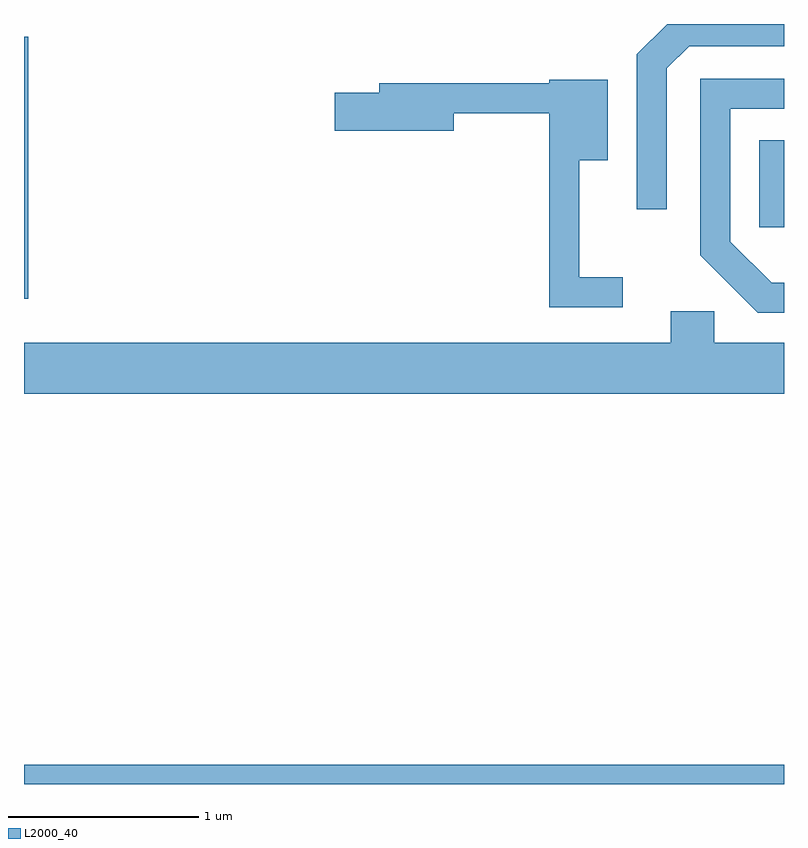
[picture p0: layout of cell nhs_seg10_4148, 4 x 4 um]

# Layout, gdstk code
import gdstk
lib = gdstk.Library(unit=1e-6, precision=1e-09)
def R(c, l, rs):  # rectangles x0, y0, x1, y1
    for r in rs: c.add(gdstk.rectangle(r[:2], r[2:], *l))
def P(c, l, *ps):  # polygons
    for p in ps: c.add(gdstk.Polygon(p, *l))
L2000_40 = (2000, 40)

nhs_seg10_4148 = lib.new_cell('nhs_seg10_4148')
R(nhs_seg10_4148, L2000_40, [(307.611,2118.522,311.611,2118.624), (307.611,2121.076,307.634,2122.454), (311.481,2121.451,311.611,2121.909)])
P(nhs_seg10_4148, L2000_40, [(310.994,2122.289),(311.112,2122.406),(311.611,2122.406),(311.611,2122.522),(310.997,2122.522),(310.836,2122.362),(310.836,2121.548),(310.994,2121.548)],
  [(311.611,2121.159),(311.547,2121.159),(311.329,2121.377),(311.329,2122.076),(311.611,2122.076),(311.611,2122.234),(311.171,2122.234),(311.171,2121.304),(311.474,2121.001),(311.611,2121.001)],
  [(310.763,2121.189),(310.534,2121.189),(310.534,2121.806),(310.684,2121.806),(310.684,2122.229),(310.376,2122.229),(310.376,2122.209),(309.481,2122.209),(309.481,2122.159),(309.246,2122.159),(309.246,2121.961),(309.874,2121.961),(309.874,2122.051),(310.376,2122.051),(310.376,2121.031),(310.763,2121.031)],
  [(311.611,2120.844),(311.244,2120.844),(311.244,2121.009),(311.016,2121.009),(311.016,2120.844),(307.611,2120.844),(307.611,2120.576),(311.611,2120.576)])

lib.write_gds('nhs_seg10_4148.gds')
